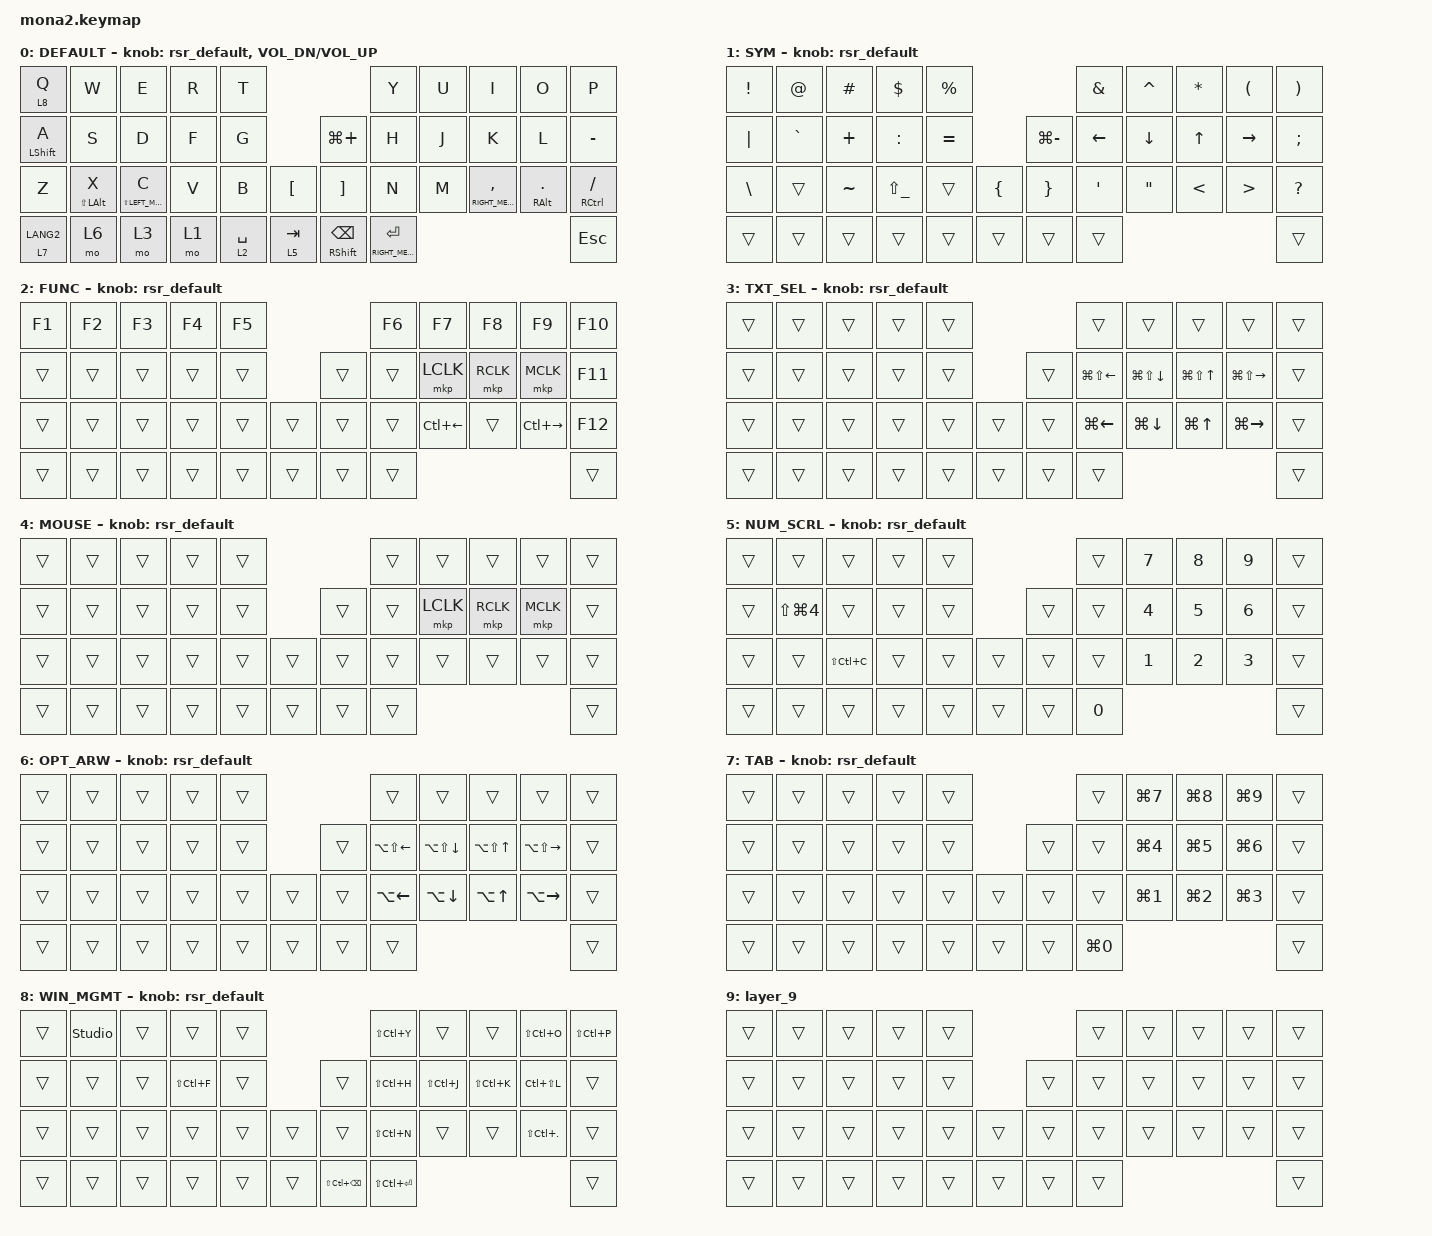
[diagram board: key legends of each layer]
#include <input/processors.dtsi>
#include <dt-bindings/zmk/input_transform.h>
#include <zephyr/dt-bindings/input/input-event-codes.h>
#include <behaviors/runtime-sensor-rotate.dtsi>
#include <behaviors.dtsi>
#include <dt-bindings/zmk/keys.h>
#include <dt-bindings/zmk/pointing.h>

/* ZMK 側で 10 が定義済みなので警告回避のため一旦 undef */

#undef ZMK_POINTING_DEFAULT_SCRL_VAL

#define ZMK_POINTING_DEFAULT_SCRL_VAL 100

/*
 * zmk-config-roBa のキーマップを moNa2 へ移植したもの。
 * moNa2 は roBa と比べて 2 行目の左内側キー (roBa では Cmd+-) が 1 つ無いため、
 * 各レイヤーからその位置 (roBa の index 15) を除いている。
 * それ以外のキー位置は roBa と同じ。
 *
 * macOS 前提 (LG = Command、LA = Option)。日本語入力は LANG1 / LANG2 で切替。
 * トラックボールのスクロールレイヤー (layer 5) は
 * boards/shields/mona2/mona2_r.overlay の scroll_runtime_input_processor
 * (active-layers bitmask) で指定している。
 */

&mt {
    flavor = "balanced";
    quick-tap-ms = <0>;
};

&msc {
    delay-ms = <0>;
    time-to-max-speed-ms = <0>;
    acceleration-exponent = <0>;
};

/ {
    combos {
        compatible = "zmk,combos";

        /* roBa の 34 + 40 に相当 (LANG2 キー + Backspace キー) */

        lang1 {
            bindings = <&kp LANGUAGE_1>;
            key-positions = <33 39>;
        };
    };

    macros {
        to_layer_0: to_layer_0 {
            compatible = "zmk,behavior-macro-one-param";
            #binding-cells = <1>;
            bindings = <&to 0 &macro_param_1to1 &kp MACRO_PLACEHOLDER>;
            label = "TO_LAYER_0";
        };
    };

    behaviors {
        lt_to_layer_0: lt_to_layer_0 {
            compatible = "zmk,behavior-hold-tap";
            label = "LAYER_TAP_TO_0";
            bindings = <&mo>, <&to_layer_0>;

            #binding-cells = <2>;
            tapping-term-ms = <200>;
        };

        mt_slow: mt_slow {
            compatible = "zmk,behavior-hold-tap";
            label = "MOD_TAP_SLOW";
            bindings = <&kp>, <&kp>;

            #binding-cells = <2>;
            flavor = "balanced";
            tapping-term-ms = <300>;
            quick-tap-ms = <0>;
        };

        mt_fast: mt_fast {
            compatible = "zmk,behavior-hold-tap";
            label = "MT_FAST";
            bindings = <&kp>, <&kp>;

            #binding-cells = <2>;
            flavor = "balanced";
            tapping-term-ms = <145>;
            quick-tap-ms = <0>;
        };

        // エンコーダ用 runtime-configurable sensor rotate
        // デフォルトは音量 (cw=C_VOL_UP, ccw=C_VOL_DN)
        // DYA Studio Web UI から レイヤーごとに cw/ccw の binding を
        // msc SCRL_UP/DOWN や kp LEFT/RIGHT などへ動的変更可能

        rsr_default: rsr_default {
            compatible = "zmk,behavior-runtime-sensor-rotate";
            #sensor-binding-cells = <0>;
            tap-ms = <16>;
            cw-binding = <&kp C_VOL_UP>;
            ccw-binding = <&kp C_VOL_DN>;
        };
    };

    keymap {
        compatible = "zmk,keymap";

        default_layer {
            display-name = "DEFAULT";
            bindings = <
&lt 8 Q                &kp W                    &kp E                     &kp R  &kp T                                                           &kp Y                 &kp U  &kp I                 &kp O                 &kp P
&mt_slow LEFT_SHIFT A  &kp S                    &kp D                     &kp F  &kp G                                &kp LG(PLUS)               &kp H                 &kp J  &kp K                 &kp L                 &kp MINUS
&kp Z                  &mt_slow LS(LEFT_ALT) X  &mt_slow LS(LEFT_META) C  &kp V  &kp B        &kp LEFT_BRACKET        &kp RIGHT_BRACKET          &kp N                 &kp M  &mt RIGHT_META COMMA  &mt RIGHT_ALT PERIOD  &mt_fast RCTRL SLASH
&lt 7 LANG2            &mo 6                    &mo 3                     &mo 1  &lt 2 SPACE  &lt_to_layer_0 5 TAB    &mt RIGHT_SHIFT BACKSPACE  &mt RIGHT_META ENTER                                                     &kp ESCAPE
            >;

            sensor-bindings = <&rsr_default>, <&inc_dec_kp C_VOL_DN C_VOL_UP>;
        };

        layer_1 {
            display-name = "SYM";
            bindings = <
&kp EXCLAMATION  &kp AT_SIGN  &kp HASH   &kp DOLLAR          &kp PERCENT                                     &kp AMPERSAND     &kp CARET          &kp ASTERISK   &kp LEFT_PARENTHESIS  &kp RIGHT_PARENTHESIS
&kp PIPE         &kp GRAVE    &kp PLUS   &kp COLON           &kp EQUAL                      &kp LG(MINUS)    &kp LEFT_ARROW    &kp DOWN_ARROW     &kp UP_ARROW   &kp RIGHT_ARROW       &kp SEMICOLON
&kp BACKSLASH    &trans       &kp TILDE  &kp LS(UNDERSCORE)  &trans       &kp LEFT_BRACE    &kp RIGHT_BRACE  &kp SINGLE_QUOTE  &kp DOUBLE_QUOTES  &kp LESS_THAN  &kp GREATER_THAN      &kp QUESTION
&trans           &trans       &trans     &trans              &trans       &trans            &trans           &trans                                                                    &trans
            >;

            sensor-bindings = <&rsr_default>;
        };

        layer_2_mouse_click_and_func {
            display-name = "FUNC";
            bindings = <
&kp F1  &kp F2  &kp F3  &kp F4  &kp F5                    &kp F6  &kp F7              &kp F8     &kp F9               &kp F10
&trans  &trans  &trans  &trans  &trans            &trans  &trans  &mkp LCLK           &mkp RCLK  &mkp MCLK            &kp F11
&trans  &trans  &trans  &trans  &trans  &trans    &trans  &trans  &kp LC(LEFT_ARROW)  &trans     &kp LC(RIGHT_ARROW)  &kp F12
&trans  &trans  &trans  &trans  &trans  &trans    &trans  &trans                                                      &trans
            >;

            sensor-bindings = <&rsr_default>;
        };

        layer_3_text_select {
            display-name = "TXT_SEL";
            bindings = <
&trans  &trans  &trans  &trans  &trans                    &trans                  &trans                  &trans                &trans             &trans
&trans  &trans  &trans  &trans  &trans            &trans  &kp LG(LS(LEFT_ARROW))  &kp LG(LS(DOWN_ARROW))  &kp LG(LS(UP_ARROW))  &kp LG(LS(RIGHT))  &trans
&trans  &trans  &trans  &trans  &trans  &trans    &trans  &kp LG(LEFT)            &kp LG(DOWN)            &kp LG(UP)            &kp LG(RIGHT)      &trans
&trans  &trans  &trans  &trans  &trans  &trans    &trans  &trans                                                                                   &trans
            >;

            sensor-bindings = <&rsr_default>;
        };

        layer_4_mouse_layer {
            display-name = "MOUSE";
            bindings = <
&trans  &trans  &trans  &trans  &trans                    &trans  &trans     &trans     &trans     &trans
&trans  &trans  &trans  &trans  &trans            &trans  &trans  &mkp LCLK  &mkp RCLK  &mkp MCLK  &trans
&trans  &trans  &trans  &trans  &trans  &trans    &trans  &trans  &trans     &trans     &trans     &trans
&trans  &trans  &trans  &trans  &trans  &trans    &trans  &trans                                   &trans
            >;

            sensor-bindings = <&rsr_default>;
        };

        layer_5_mouse_layer {
            display-name = "NUM_SCRL";
            bindings = <
&trans  &trans                &trans         &trans  &trans                    &trans  &kp N7  &kp N8  &kp N9  &trans
&trans  &kp LS(LG(NUMBER_4))  &trans         &trans  &trans            &trans  &trans  &kp N4  &kp N5  &kp N6  &trans
&trans  &trans                &kp LS(LC(C))  &trans  &trans  &trans    &trans  &trans  &kp N1  &kp N2  &kp N3  &trans
&trans  &trans                &trans         &trans  &trans  &trans    &trans  &kp N0                          &trans
            >;

            sensor-bindings = <&rsr_default>;
        };

        layer_6 {
            display-name = "OPT_ARW";
            bindings = <
&trans  &trans  &trans  &trans  &trans                    &trans                  &trans                  &trans                &trans                   &trans
&trans  &trans  &trans  &trans  &trans            &trans  &kp LA(LS(LEFT_ARROW))  &kp LA(LS(DOWN_ARROW))  &kp LA(LS(UP_ARROW))  &kp LA(LS(RIGHT_ARROW))  &trans
&trans  &trans  &trans  &trans  &trans  &trans    &trans  &kp LA(LEFT)            &kp LA(DOWN)            &kp LA(UP)            &kp LA(RIGHT)            &trans
&trans  &trans  &trans  &trans  &trans  &trans    &trans  &trans                                                                                         &trans
            >;

            sensor-bindings = <&rsr_default>;
        };

        layer_7_change_browser_tab {
            display-name = "TAB";
            bindings = <
&trans  &trans  &trans  &trans  &trans                    &trans            &kp LG(NUMBER_7)  &kp LG(NUMBER_8)  &kp LG(NUMBER_9)  &trans
&trans  &trans  &trans  &trans  &trans            &trans  &trans            &kp LG(NUMBER_4)  &kp LG(NUMBER_5)  &kp LG(NUMBER_6)  &trans
&trans  &trans  &trans  &trans  &trans  &trans    &trans  &trans            &kp LG(NUMBER_1)  &kp LG(NUMBER_2)  &kp LG(NUMBER_3)  &trans
&trans  &trans  &trans  &trans  &trans  &trans    &trans  &kp LG(NUMBER_0)                                                        &trans
            >;

            sensor-bindings = <&rsr_default>;
        };

        /* Q 長押しで入る。W の位置に &studio_unlock (DYA Studio のアンロック) */

        layer_8_move_window {
            display-name = "WIN_MGMT";
            bindings = <
&trans  &studio_unlock  &trans  &trans         &trans                                   &kp LS(LC(Y))      &trans         &trans         &kp LS(LC(O))    &kp LS(LC(P))
&trans  &trans          &trans  &kp LS(LC(F))  &trans            &trans                 &kp LS(LC(H))      &kp LS(LC(J))  &kp LS(LC(K))  &kp LC(LS(L))    &trans
&trans  &trans          &trans  &trans         &trans  &trans    &trans                 &kp LS(LC(N))      &trans         &trans         &kp LS(LC(DOT))  &trans
&trans  &trans          &trans  &trans         &trans  &trans    &kp LS(LC(BACKSPACE))  &kp LS(LC(ENTER))                                                 &trans
            >;

            sensor-bindings = <&rsr_default>;
        };

        layer_9 {
            bindings = <
&trans  &trans  &trans  &trans  &trans                    &trans  &trans  &trans  &trans  &trans
&trans  &trans  &trans  &trans  &trans            &trans  &trans  &trans  &trans  &trans  &trans
&trans  &trans  &trans  &trans  &trans  &trans    &trans  &trans  &trans  &trans  &trans  &trans
&trans  &trans  &trans  &trans  &trans  &trans    &trans  &trans                          &trans
            >;
        };
    };
};
